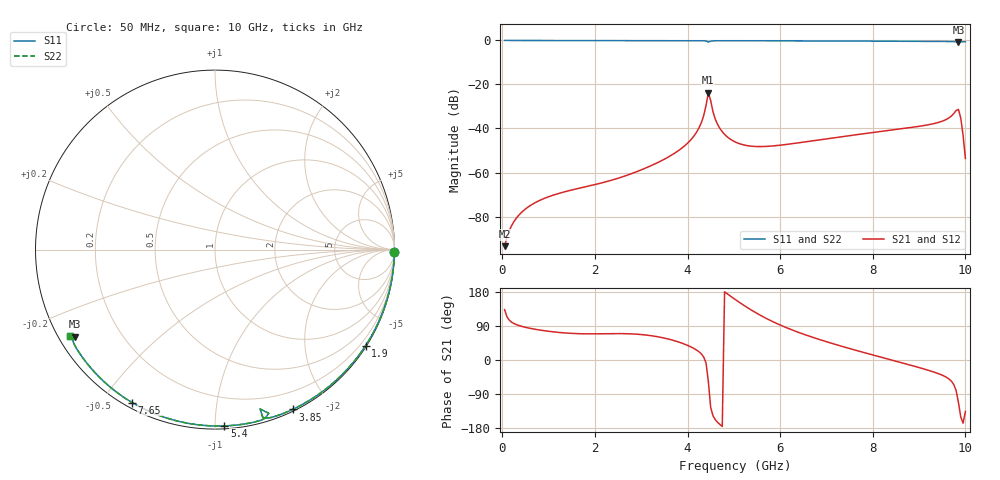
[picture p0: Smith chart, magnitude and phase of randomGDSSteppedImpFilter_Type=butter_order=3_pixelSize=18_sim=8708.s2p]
! freq	dB(S11)	phase(S11)	dB(S12)	phase(S12)
!  dB(S21)	phase(S21)	dB(S22)	phase(S22)
!S-par simulation data
#  GHz  S  DB  R 50
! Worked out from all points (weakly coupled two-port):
!   200 points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, 50 MHz to 10 GHz, reference 50 ohm
!   highest |S21| = -23.69 dB at 4.45 GHz (marker M1); lowest = -93.5 dB at 50 MHz (marker M2)
!   lowest |S11| = -0.7 dB at 9.85 GHz (marker M3), VSWR 23.98, Z = 2.26 - j14.3 ohm
!   |S11| at or under -10 dB: nowhere
!   |S22| runs from -0.7 to 0.0 dB; largest |S21 - S12| = 0
!   S11 on the Smith chart (normalised r, x): 50 MHz: open; 1.9 GHz: 0.03, -3.43; 3.85 GHz: 0.02, -1.60; 5.4 GHz: 0.02, -1.05; 7.65 GHz: 0.02, -0.60; 10 GHz: 0.03, -0.27
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0.05  -0.00 -0.9  -93.47 132.9  -93.47 132.9  -0.00 -0.9
0.3  -0.01 -5.2  -80.84 93.6  -80.84 93.6  -0.01 -5.2
0.85  -0.02 -14.7  -72.27 78.3  -72.27 78.3  -0.02 -14.7
1.75  -0.04 -30.0  -66.72 69.2  -66.72 69.2  -0.04 -30.0
1.9  -0.04 -32.5  -65.99 69.0  -65.99 69.0  -0.04 -32.5
3.4  -0.08 -56.9  -55.04 60.4  -55.04 60.4  -0.08 -56.9
3.85  -0.09 -64.1  -49.36 45.7  -49.36 45.7  -0.09 -64.1
4.25  -0.11 -70.7  -39.60 21.4  -39.60 21.4  -0.11 -70.7
4.35  -0.15 -72.7  -34.08 7.6  -34.08 7.6  -0.15 -72.7
4.45  -0.69 -74.2  -23.69 -57.3  -23.69 -57.3  -0.69 -74.2
4.55  -0.19 -73.3  -32.43 -147.3  -32.43 -147.3  -0.19 -73.3
4.65  -0.13 -75.4  -38.19 -164.6  -38.19 -164.6  -0.13 -75.4
4.8  -0.13 -77.9  -42.67 179.9  -42.67 179.9  -0.13 -77.9
5.05  -0.13 -81.8  -46.33 157.9  -46.33 157.9  -0.13 -81.8
5.4  -0.14 -87.0  -48.09 130.1  -48.09 130.1  -0.14 -87.0
6.7  -0.21 -105.5  -45.60 60.0  -45.60 60.0  -0.21 -105.5
7.65  -0.27 -118.4  -42.81 25.1  -42.81 25.1  -0.27 -118.5
8.35  -0.33 -127.9  -40.90 1.8  -40.90 1.8  -0.33 -127.9
9.45  -0.44 -142.7  -37.04 -37.6  -37.04 -37.6  -0.44 -142.7
9.85  -0.72 -148.1  -31.34 -112.1  -31.34 -112.1  -0.73 -148.1
9.9  -0.67 -147.9  -35.25 -150.5  -35.25 -150.5  -0.67 -147.9
10  -0.56 -149.3  -53.62 -135.8  -53.62 -135.8  -0.56 -149.3
